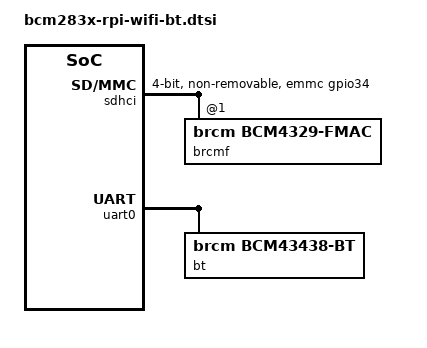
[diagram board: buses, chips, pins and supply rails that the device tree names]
/ {
	wifi_pwrseq: wifi-pwrseq {
		compatible = "mmc-pwrseq-simple";
	};
};
&sdhci {
	#address-cells = <1>;
	#size-cells = <0>;
	pinctrl-names = "default";
	pinctrl-0 = <&emmc_gpio34>;
	bus-width = <4>;
	non-removable;
	mmc-pwrseq = <&wifi_pwrseq>;
	status = "okay";
	brcmf: wifi@1 {
		reg = <1>;
		compatible = "brcm,bcm4329-fmac";
	};
};
&uart0 {
	status = "okay";
	bt: bluetooth {
		compatible = "brcm,bcm43438-bt";
		max-speed = <2000000>;
	};
};
